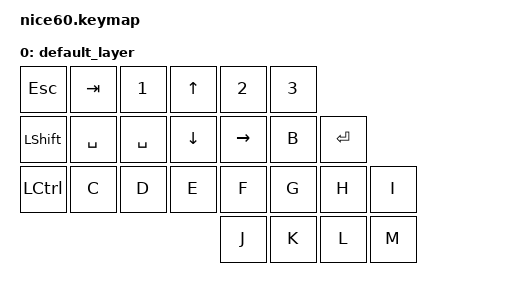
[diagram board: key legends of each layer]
/*
 * Copyright (c) 2021 Nick Winans
 *
 * SPDX-License-Identifier: MIT
 */

#include <behaviors.dtsi>
#include <dt-bindings/zmk/keys.h>
#include <dt-bindings/zmk/rgb.h>
#include <dt-bindings/zmk/bt.h>
#include "keys_es.h"

/{
    keymap {
        compatible = "zmk,keymap";

        default_layer {
        /*
        map = <
        RC(0,7)     RC(0,6)     RC(0,5)      RC(0,4)    RC(0,3)     RC(0,2)
        RC(1,7)     RC(1,6)     RC(1,5)      RC(1,4)    RC(1,3)     RC(1,2)     RC(1,1)
        RC(2,7)     RC(2,6)     RC(2,5)      RC(2,4)    RC(2,3)     RC(2,2)     RC(2,1)     RC(2,0)
                                                        RC(3,3)     RC(3,2)     RC(3,1)     RC(3,0)
        >;RC(fila,col)
        */

        bindings = <
        &kp ESC     &kp TAB     &kp N1       &kp UP     &kp N2      &kp N3
        &kp LSHFT   &kp SPACE       &kp SPACE     &kp DOWN   &kp RIGHT   &kp B       &kp RET
        &kp LCTRL   &kp C       &kp D        &kp E      &kp F       &kp G       &kp H       &kp I
                                                        &kp J       &kp K       &kp L       &kp M

        >;
        };
    };
};
